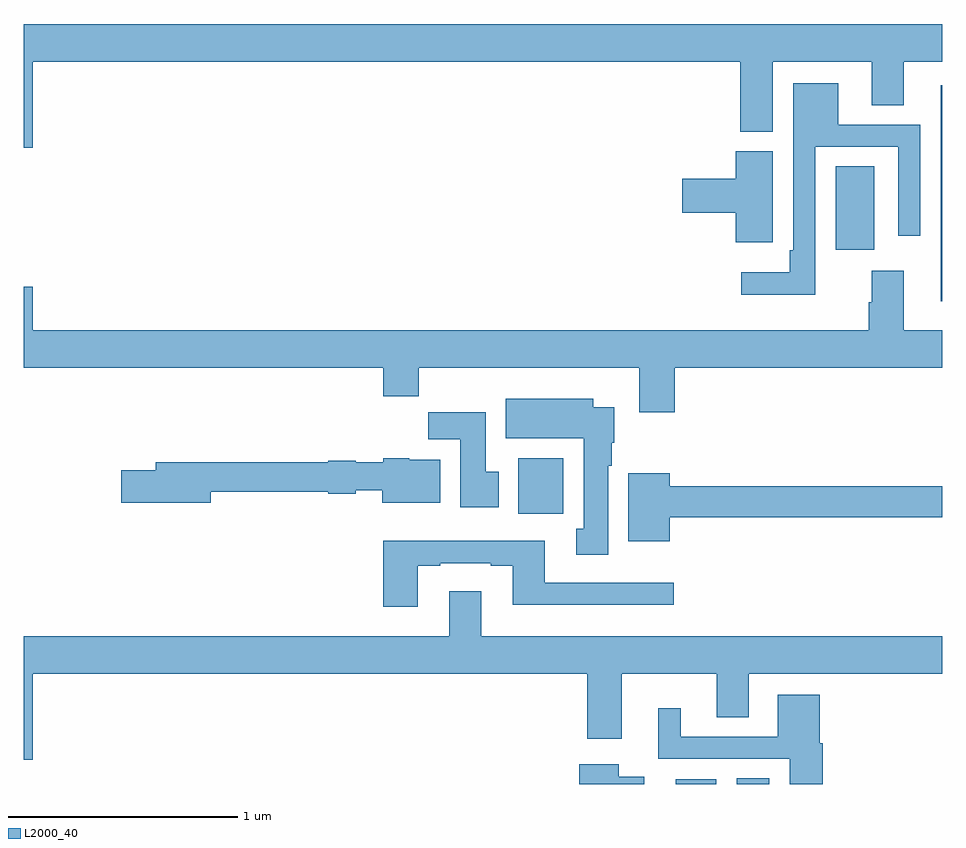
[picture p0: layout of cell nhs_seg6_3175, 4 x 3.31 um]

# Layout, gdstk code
import gdstk
lib = gdstk.Library(unit=1e-6, precision=1e-09)
def R(c, l, rs):  # rectangles x0, y0, x1, y1
    for r in rs: c.add(gdstk.rectangle(r[:2], r[2:], *l))
def P(c, l, *ps):  # polygons
    for p in ps: c.add(gdstk.Polygon(p, *l))
L2000_40 = (2000, 40)

nhs_seg6_3175 = lib.new_cell('nhs_seg6_3175')
R(nhs_seg6_3175, L2000_40, [(299.84,969.5,300.016,969.52), (300.104,969.5,300.247,969.524), (299.153,970.676,299.35,970.918), (300.992,971.601,301,972.541), (300.536,971.826,300.703,972.188)])
P(nhs_seg6_3175, L2000_40, [(297.04,972.644),(300.119,972.644),(300.119,972.34),(300.262,972.34),(300.262,972.644),(300.692,972.644),(300.692,972.454),(300.832,972.454),(300.832,972.644),(301,972.644),(301,972.808),(297,972.808),(297,972.27),(297.04,972.27)],
  [(300.447,972.273),(300.807,972.273),(300.807,971.886),(300.903,971.886),(300.903,972.369),(300.547,972.369),(300.547,972.55),(300.351,972.55),(300.351,971.824),(300.335,971.824),(300.335,971.728),(300.123,971.728),(300.123,971.63),(300.447,971.63)],
  [(300.261,971.971),(300.262,971.971),(300.262,972.255),(300.101,972.255),(300.101,972.134),(299.868,972.134),(299.868,971.987),(300.101,971.987),(300.101,971.859),(300.261,971.859)],
  [(299.834,971.312),(301,971.312),(301,971.476),(300.832,971.476),(300.832,971.734),(300.692,971.734),(300.692,971.597),(300.68,971.597),(300.68,971.476),(297.04,971.476),(297.04,971.665),(297,971.665),(297,971.312),(298.565,971.312),(298.565,971.188),(298.721,971.188),(298.721,971.312),(299.681,971.312),(299.681,971.118),(299.834,971.118)],
  [(299.545,970.886),(299.56,970.886),(299.56,970.986),(299.572,970.986),(299.572,971.14),(299.479,971.14),(299.479,971.176),(299.099,971.176),(299.099,971.006),(299.438,971.006),(299.438,970.61),(299.405,970.61),(299.405,970.497),(299.545,970.497)],
  [(299.068,970.86),(299.011,970.86),(299.011,971.118),(298.762,971.118),(298.762,971),(298.901,971),(298.901,970.704),(299.068,970.704)],
  [(297.814,970.771),(298.326,970.771),(298.326,970.763),(298.446,970.763),(298.446,970.778),(298.562,970.778),(298.562,970.724),(298.813,970.724),(298.813,970.912),(298.68,970.912),(298.68,970.918),(298.566,970.918),(298.566,970.9),(298.446,970.9),(298.446,970.908),(298.326,970.908),(298.326,970.9),(297.575,970.9),(297.575,970.866),(297.426,970.866),(297.426,970.724),(297.814,970.724)],
  [(299.812,970.66),(301,970.66),(301,970.796),(299.812,970.796),(299.812,970.852),(299.633,970.852),(299.633,970.556),(299.812,970.556)],
  [(298.717,970.449),(298.813,970.449),(298.813,970.461),(299.033,970.461),(299.033,970.449),(299.129,970.449),(299.129,970.28),(299.83,970.28),(299.83,970.377),(299.269,970.377),(299.269,970.558),(298.565,970.558),(298.565,970.272),(298.717,970.272)],
  [(297.04,969.98),(299.453,969.98),(299.453,969.696),(299.605,969.696),(299.605,969.98),(300.017,969.98),(300.017,969.79),(300.157,969.79),(300.157,969.98),(301,969.98),(301,970.144),(298.993,970.144),(298.993,970.339),(298.853,970.339),(298.853,970.144),(297,970.144),(297,969.606),(297.04,969.606)],
  [(300.479,969.678),(300.466,969.678),(300.466,969.889),(300.284,969.889),(300.284,969.705),(299.86,969.705),(299.86,969.829),(299.762,969.829),(299.762,969.609),(300.336,969.609),(300.336,969.5),(300.479,969.5)],
  [(299.701,969.532),(299.59,969.532),(299.59,969.586),(299.42,969.586),(299.42,969.5),(299.701,969.5)])

lib.write_gds('nhs_seg6_3175.gds')
